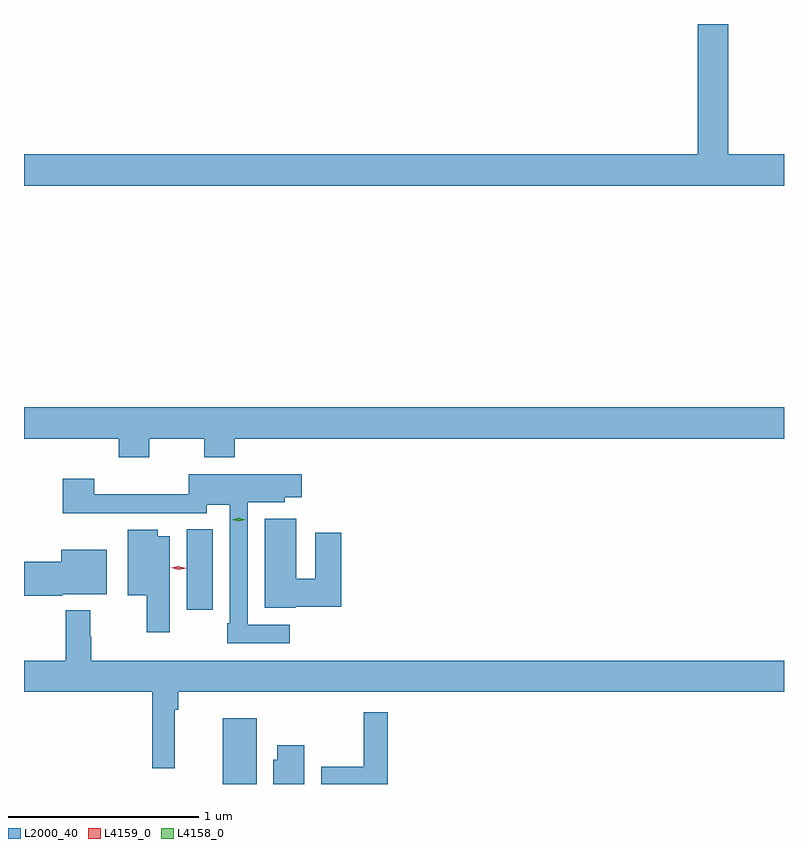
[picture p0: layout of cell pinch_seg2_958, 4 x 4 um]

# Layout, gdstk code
import gdstk
lib = gdstk.Library(unit=1e-6, precision=1e-09)
def R(c, l, rs):  # rectangles x0, y0, x1, y1
    for r in rs: c.add(gdstk.rectangle(r[:2], r[2:], *l))
def P(c, l, *ps):  # polygons
    for p in ps: c.add(gdstk.Polygon(p, *l))
L2000_40 = (2000, 40)
L4158_0 = (4158, 0)
L4159_0 = (4159, 0)

pinch_seg2_958 = lib.new_cell('pinch_seg2_958')
R(pinch_seg2_958, L2000_40, [(312.059,628.502,312.238,628.849), (311.87,629.418,312.007,629.843)])
P(pinch_seg2_958, L2000_40, [(315.014,631.816),(314.721,631.816),(314.721,632.502),(314.561,632.502),(314.561,631.816),(311.014,631.816),(311.014,631.652),(315.014,631.652)],
  [(311.673,630.32),(311.962,630.32),(311.962,630.221),(312.122,630.221),(312.122,630.32),(315.014,630.32),(315.014,630.484),(311.014,630.484),(311.014,630.32),(311.513,630.32),(311.513,630.221),(311.673,630.221)],
  [(312.412,629.34),(312.192,629.34),(312.192,629.984),(312.387,629.984),(312.387,630.011),(312.475,630.011),(312.475,630.133),(311.88,630.133),(311.88,630.026),(311.384,630.026),(311.384,630.109),(311.219,630.109),(311.219,629.927),(311.465,629.927),(311.465,629.928),(311.976,629.928),(311.976,629.972),(312.096,629.972),(312.096,629.347),(312.084,629.347),(312.084,629.244),(312.412,629.244)],
  [(312.444,629.435),(312.683,629.435),(312.683,629.824),(312.548,629.824),(312.548,629.583),(312.448,629.583),(312.448,629.899),(312.281,629.899),(312.281,629.429),(312.444,629.429)],
  [(311.782,629.806),(311.719,629.806),(311.719,629.839),(311.561,629.839),(311.561,629.495),(311.66,629.495),(311.66,629.301),(311.782,629.301)],
  [(311.214,629.501),(311.449,629.501),(311.449,629.734),(311.21,629.734),(311.21,629.672),(311.014,629.672),(311.014,629.494),(311.214,629.494)],
  [(311.808,628.892),(311.825,628.892),(311.825,628.988),(315.014,628.988),(315.014,629.152),(311.369,629.152),(311.369,629.276),(311.362,629.276),(311.362,629.416),(311.234,629.416),(311.234,629.152),(311.014,629.152),(311.014,628.988),(311.689,628.988),(311.689,628.584),(311.808,628.584)],
  [(312.929,628.879),(312.801,628.879),(312.801,628.594),(312.579,628.594),(312.579,628.502),(312.929,628.502)],
  [(312.49,628.705),(312.347,628.705),(312.347,628.629),(312.326,628.629),(312.326,628.502),(312.49,628.502)])
P(pinch_seg2_958, L4158_0, [(312.144,629.884),(312.109,629.894),(312.109,629.894),(312.109,629.894),(312.144,629.904),(312.178,629.894),(312.179,629.894),(312.178,629.894)])
P(pinch_seg2_958, L4159_0, [(311.827,629.629),(311.788,629.639),(311.787,629.639),(311.788,629.639),(311.827,629.649),(311.867,629.638),(311.867,629.638),(311.867,629.638)])

lib.write_gds('pinch_seg2_958.gds')
